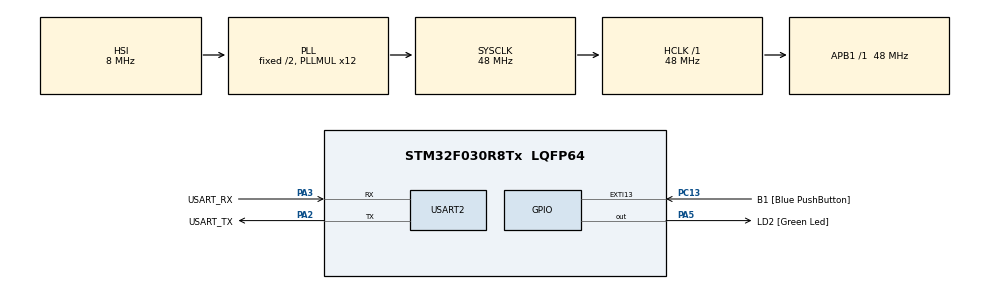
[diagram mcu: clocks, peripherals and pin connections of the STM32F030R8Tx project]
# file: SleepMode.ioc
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Mcu.Family=STM32F0
Mcu.Name=STM32F030R8Tx
Mcu.Package=LQFP64
NVIC.EXTI4_15_IRQn=true\:0\:0\:false\:false\:true\:true\:true\:true
PA13.GPIO_Label=TMS
PA13.Mode=Serial_Wire
PA13.Signal=SYS_SWDIO
PA14.GPIO_Label=TCK
PA14.Mode=Serial_Wire
PA14.Signal=SYS_SWCLK
PA2.GPIO_Label=USART_TX
PA2.GPIO_Mode=GPIO_MODE_AF_PP
PA2.GPIO_PuPd=GPIO_NOPULL
PA2.GPIO_Speed=GPIO_SPEED_FREQ_LOW
PA2.Mode=Asynchronous
PA2.Signal=USART2_TX
PA3.GPIO_Label=USART_RX
PA3.GPIO_Mode=GPIO_MODE_AF_PP
PA3.GPIO_PuPd=GPIO_NOPULL
PA3.GPIO_Speed=GPIO_SPEED_FREQ_LOW
PA3.Mode=Asynchronous
PA3.Signal=USART2_RX
PA5.GPIO_Label=LD2 [Green Led]
PA5.GPIO_Mode=GPIO_MODE_OUTPUT_PP
PA5.GPIO_PuPd=GPIO_NOPULL
PA5.GPIO_Speed=GPIO_SPEED_FREQ_LOW
PA5.Signal=GPIO_Output
PC13.GPIO_Label=B1 [Blue PushButton]
PC13.GPIO_ModeDefaultEXTI=GPIO_MODE_IT_FALLING
PC13.Signal=GPXTI13
PC14-OSC32_IN.Signal=RCC_OSC32_IN
PC15-OSC32_OUT.Signal=RCC_OSC32_OUT
PF0-OSC_IN.Mode=HSE-External-Oscillator
PF0-OSC_IN.Signal=RCC_OSC_IN
PF1-OSC_OUT.Mode=HSE-External-Oscillator
PF1-OSC_OUT.Signal=RCC_OSC_OUT
ProjectManager.HeapSize=0x200
ProjectManager.StackSize=0x400
ProjectManager.TargetToolchain=STM32CubeIDE
RCC.AHBFreq_Value=48000000
RCC.APB1Freq_Value=48000000
RCC.APB1TimFreq_Value=48000000
RCC.HCLKFreq_Value=48000000
RCC.PLLMUL=RCC_PLL_MUL12
RCC.SYSCLKFreq_VALUE=48000000
RCC.SYSCLKSource=RCC_SYSCLKSOURCE_PLLCLK
USART2.VirtualMode-Asynchronous=VM_ASYNC
board=NUCLEO-F030R8

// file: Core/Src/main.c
/* USER CODE BEGIN Header */
/**
  ******************************************************************************
  * @file           : main.c
  * @brief          : Main program body
  ******************************************************************************
  * @attention
  *
  * Copyright (c) 2025 STMicroelectronics.
  * All rights reserved.
  *
  * This software is licensed under terms that can be found in the LICENSE file
  * in the root directory of this software component.
  * If no LICENSE file comes with this software, it is provided AS-IS.
  *
  ******************************************************************************
  */
/* USER CODE END Header */
#include "main.h"

/* USER CODE BEGIN Includes */
#include "string.h"
/* USER CODE END Includes */

UART_HandleTypeDef huart2;

typedef enum {
	low,
	high
} PWRmode;

volatile PWRmode PWRstate  = high;

void SystemClock_Config(void);
static void MX_GPIO_Init(void);
static void MX_USART2_UART_Init(void);

/* USER CODE BEGIN 0 */
// redirect output of fprint() to UART2
	int _write(int file, char *ptr, int len)
	{
		HAL_UART_Transmit(&huart2, (uint8_t *) ptr, len, HAL_MAX_DELAY);
		return len;
	}
/* USER CODE END 0 */

int main(void)
{

  /* MCU Configuration--------------------------------------------------------*/

  /* Reset of all peripherals, Initializes the Flash interface and the Systick. */
  HAL_Init();

  /* Configure the system clock */
  SystemClock_Config();

  /* Initialize all configured peripherals */
  MX_GPIO_Init();
  MX_USART2_UART_Init();

  /* USER CODE BEGIN 2 */
  __HAL_RCC_PWR_CLK_ENABLE();   // enable PWR clock

  /* USER CODE END 2 */

  /* Infinite loop */
  while (1)
  {

    /* USER CODE BEGIN 3 */
	  if (PWRstate == low)
		  // EXTI handler notify us that we should go to sleep
	  		{
				printf("Tick %d. Entering SleepMode\r\n", HAL_GetTick());
				HAL_SuspendTick();
				HAL_GPIO_WritePin(LD2_GPIO_Port, LD2_Pin, 0);
				//HAL_PWR_EnterSTOPMode(PWR_LOWPOWERREGULATOR_ON, PWR_STOPENTRY_WFI); // for stop mode
				HAL_PWR_EnterSLEEPMode(PWR_LOWPOWERREGULATOR_ON, PWR_STOPENTRY_WFI);
	  		}

	  HAL_GPIO_TogglePin(LD2_GPIO_Port, LD2_Pin);
	  HAL_Delay(333);
  }
  /* USER CODE END 3 */
}

void SystemClock_Config(void)
{
  RCC_OscInitTypeDef RCC_OscInitStruct = {0};
  RCC_ClkInitTypeDef RCC_ClkInitStruct = {0};

  /** Initializes the RCC Oscillators according to the specified parameters
  * in the RCC_OscInitTypeDef structure.
  */
  RCC_OscInitStruct.OscillatorType = RCC_OSCILLATORTYPE_HSI;
  RCC_OscInitStruct.HSIState = RCC_HSI_ON;
  RCC_OscInitStruct.HSICalibrationValue = RCC_HSICALIBRATION_DEFAULT;
  RCC_OscInitStruct.PLL.PLLState = RCC_PLL_ON;
  RCC_OscInitStruct.PLL.PLLSource = RCC_PLLSOURCE_HSI;
  RCC_OscInitStruct.PLL.PLLMUL = RCC_PLL_MUL12;
  RCC_OscInitStruct.PLL.PREDIV = RCC_PREDIV_DIV1;
  if (HAL_RCC_OscConfig(&RCC_OscInitStruct) != HAL_OK)
  {
    Error_Handler();
  }

  /** Initializes the CPU, AHB and APB buses clocks
  */
  RCC_ClkInitStruct.ClockType = RCC_CLOCKTYPE_HCLK|RCC_CLOCKTYPE_SYSCLK
                              |RCC_CLOCKTYPE_PCLK1;
  RCC_ClkInitStruct.SYSCLKSource = RCC_SYSCLKSOURCE_PLLCLK;
  RCC_ClkInitStruct.AHBCLKDivider = RCC_SYSCLK_DIV1;
  RCC_ClkInitStruct.APB1CLKDivider = RCC_HCLK_DIV1;

  if (HAL_RCC_ClockConfig(&RCC_ClkInitStruct, FLASH_LATENCY_1) != HAL_OK)
  {
    Error_Handler();
  }
}

static void MX_USART2_UART_Init(void)
{

  huart2.Instance = USART2;
  huart2.Init.BaudRate = 38400;
  huart2.Init.WordLength = UART_WORDLENGTH_8B;
  huart2.Init.StopBits = UART_STOPBITS_1;
  huart2.Init.Parity = UART_PARITY_NONE;
  huart2.Init.Mode = UART_MODE_TX_RX;
  huart2.Init.HwFlowCtl = UART_HWCONTROL_NONE;
  huart2.Init.OverSampling = UART_OVERSAMPLING_16;
  huart2.Init.OneBitSampling = UART_ONE_BIT_SAMPLE_DISABLE;
  huart2.AdvancedInit.AdvFeatureInit = UART_ADVFEATURE_NO_INIT;
  if (HAL_UART_Init(&huart2) != HAL_OK)
  {
    Error_Handler();
  }

}

static void MX_GPIO_Init(void)
{
  GPIO_InitTypeDef GPIO_InitStruct = {0};

  /* GPIO Ports Clock Enable */
  __HAL_RCC_GPIOC_CLK_ENABLE();
  __HAL_RCC_GPIOF_CLK_ENABLE();
  __HAL_RCC_GPIOA_CLK_ENABLE();

  /*Configure GPIO pin Output Level */
  HAL_GPIO_WritePin(LD2_GPIO_Port, LD2_Pin, GPIO_PIN_RESET);

  /*Configure GPIO pin : B1_Pin */
  GPIO_InitStruct.Pin = B1_Pin;
  GPIO_InitStruct.Mode = GPIO_MODE_IT_FALLING;
  GPIO_InitStruct.Pull = GPIO_NOPULL;
  HAL_GPIO_Init(B1_GPIO_Port, &GPIO_InitStruct);

  /*Configure GPIO pin : LD2_Pin */
  GPIO_InitStruct.Pin = LD2_Pin;
  GPIO_InitStruct.Mode = GPIO_MODE_OUTPUT_PP;
  GPIO_InitStruct.Pull = GPIO_NOPULL;
  GPIO_InitStruct.Speed = GPIO_SPEED_FREQ_LOW;
  HAL_GPIO_Init(LD2_GPIO_Port, &GPIO_InitStruct);

  /* EXTI interrupt init*/
  HAL_NVIC_SetPriority(EXTI4_15_IRQn, 0, 0);
  HAL_NVIC_EnableIRQ(EXTI4_15_IRQn);

}

/* USER CODE BEGIN 4 */
void HAL_GPIO_EXTI_Callback(uint16_t GPIO_Pin)
{
	if(GPIO_Pin == B1_Pin) {
		if (PWRstate == low)
		{
			// wake up
			HAL_ResumeTick();
			SystemClock_Config();
			PWRstate  = high;
			printf("Tick %d. Waked up by EXTI\r\n", HAL_GetTick());
		}
		else
		{
			// do not try to enter low power mode here because this will cause not finished interruption processing
			// just flag that you want main function should send system to sleep
			PWRstate = low;
		}
	}
}
/* USER CODE END 4 */

void Error_Handler(void)
{
  __disable_irq();
  while (1)
  {
  }
}
